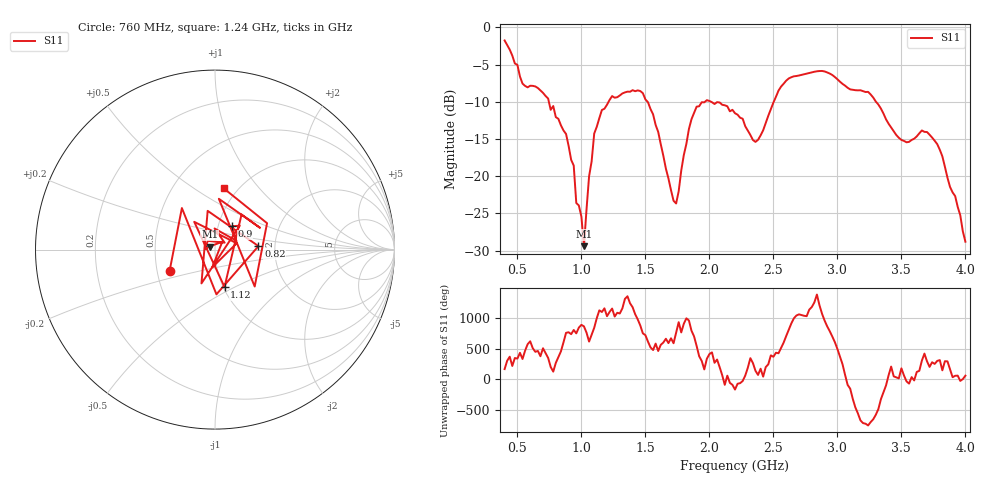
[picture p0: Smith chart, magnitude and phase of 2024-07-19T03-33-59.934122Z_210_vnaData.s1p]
!Created with skrf (http://scikit-rf.org).
# Hz S RI R 50.0
!freq ReS11 ImS11
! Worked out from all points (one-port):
!   181 points, 400 MHz to 4 GHz, reference 50 ohm
!   lowest |S11| = -29.4 dB at 1.02 GHz (marker M1), VSWR 1.07, Z = 47.1 + j1.59 ohm
!   |S11| at or under -10 dB: 745.7 MHz to 1.212 GHz (466.7 MHz wide, 47.7 % of centre); 2.013 GHz to 2.503 GHz (489.8 MHz wide, 21.7 % of centre); 3.301 GHz to end of sweep (the widest 3 of 4)
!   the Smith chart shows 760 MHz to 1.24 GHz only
!   S11 on the Smith chart (normalised r, x): 760 MHz: 0.58, -0.15; 820 MHz: 1.64, +0.07; 900 MHz: 1.16, +0.31; 1.12 GHz: 1.01, -0.44; 1.24 GHz: 0.86, +0.67
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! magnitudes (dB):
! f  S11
! 400 MHz  -1.8
! 540 MHz  -7.6
! 760 MHz  -11.1
! 820 MHz  -12.3
! 860 MHz  -13.9
! 900 MHz  -15.9
! 940 MHz  -18.6
! 960 MHz  -23.6
! 1 GHz  -25.4
! 1.02 GHz  -29.4
! 1.06 GHz  -20.0
! 1.12 GHz  -13.4
! 1.24 GHz  -9.2
! 1.3 GHz  -9.2
! 1.48 GHz  -8.8
! 1.6 GHz  -14.0
! 1.72 GHz  -23.3
! 1.76 GHz  -22.0
! 1.84 GHz  -13.7
! 1.9 GHz  -10.7
! 2.2 GHz  -11.5
! 2.36 GHz  -15.4
! 2.66 GHz  -6.6
! 3.1 GHz  -8.3
! 3.24 GHz  -8.7
! 3.56 GHz  -15.4
! 3.78 GHz  -15.7
! 4 GHz  -28.8
